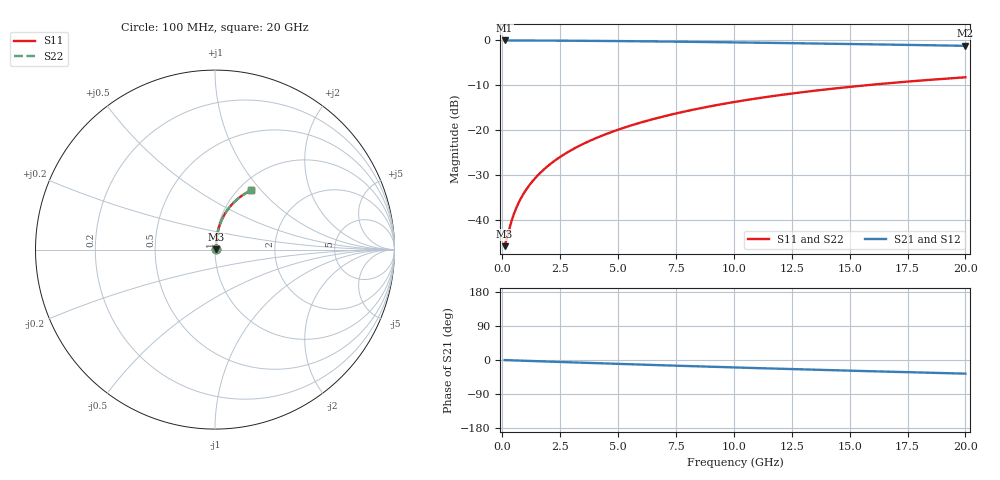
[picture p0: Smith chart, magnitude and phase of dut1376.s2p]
! Touchstone file exported from HFSS 2024.1.0
!  File:  C:/UserFiles/LocalFiles/RDL_TSV_Batchsim/temp_RDL_bottom_1376_1780371403.aedt
!  Generated:  11:39:20 AM Jun  2, 2026
!  Design:  RDL_bottom
!  Project:  temp_RDL_bottom_1376_1780371403
!  Setup:  Setup1
!  Solution:  Sweep
! Variables:
!  dtsv = 10.80580581um
!  hbump = 3um
!  htsv = 67.96um
!  ldown = 451.85um
!  lrdl = 100um
!  p = 40
!  p1 = 50.96um
!  rhole = 1um
!  t = 450um
!  tdown = 2.02um
!  trdl = 3.915915916um
!  wdown = 18.38um
!  wrdl = 20um
# GHz S MA R 50.000000
! Terminal data exported
! Port[1] = RDL1_T1
! Port[2] = RDL1_T2
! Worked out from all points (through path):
!   200 points, 100 MHz to 20 GHz, reference 50 ohm
!   highest |S21| = -0.04 dB at 100 MHz (marker M1); lowest = -1.2 dB at 20 GHz (marker M2)
!   group delay of S21, straight-line fit = 4.99 ps
!   lowest |S11| = -45.9 dB at 100 MHz (marker M3), VSWR 1.01, Z = 50.5 + j0.214 ohm
!   |S11| at or under -10 dB: start of sweep to 15.77 GHz
!   |S22| runs from -45.9 to -8.3 dB; largest |S21 - S12| = 2.7e-15
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0.1  0.00508 24.7  0.9954 -0.2  0.9954 -0.2  0.00508 24.7
! Gamma 0 0 0 0
! Port Impedance 50 0 50 0
0.3  0.00793 52.9  0.9952 -0.7  0.9952 -0.7  0.00793 52.9
0.4  0.009714 59.6  0.995 -0.9  0.995 -0.9  0.009714 59.6
0.5  0.01157 64.1  0.9949 -1.1  0.9949 -1.1  0.01157 64.1
0.6  0.01345 67.2  0.9947 -1.3  0.9947 -1.3  0.01345 67.2
0.7  0.01535 69.6  0.9945 -1.5  0.9945 -1.5  0.01535 69.6
0.9  0.01915 72.9  0.9941 -1.9  0.9941 -1.9  0.01915 72.9
1.2  0.02488 76.0  0.9935 -2.5  0.9935 -2.5  0.02488 76.0
1.4  0.02872 77.3  0.9931 -3.0  0.9931 -3.0  0.02872 77.3
1.7  0.03451 78.8  0.9924 -3.6  0.9924 -3.6  0.03451 78.8
2.2  0.04427 80.3  0.9912 -4.6  0.9912 -4.6  0.04427 80.3
2.8  0.05613 81.2  0.9893 -5.8  0.9893 -5.8  0.05613 81.2
3.5  0.07016 81.5  0.9867 -7.2  0.9867 -7.2  0.07016 81.5
4.2  0.08438 81.5  0.9837 -8.6  0.9837 -8.6  0.08438 81.5
5  0.1008 81.0  0.9798 -10.2  0.9798 -10.2  0.1008 81.0
5.9  0.1195 80.3  0.9749 -12.0  0.9749 -12.0  0.1195 80.2
6.8  0.1383 79.3  0.9696 -13.7  0.9696 -13.7  0.1383 79.2
8.4  0.1718 77.1  0.9592 -16.7  0.9592 -16.7  0.1717 77.1
10.1  0.2069 74.5  0.9471 -19.8  0.9471 -19.8  0.2069 74.5
13.4  0.2724 69.2  0.9219 -25.5  0.9219 -25.5  0.2724 69.1
16.7  0.3327 63.8  0.895 -30.9  0.895 -30.9  0.3326 63.7
20  0.3868 58.6  0.8674 -36.0  0.8674 -36.0  0.3868 58.6
